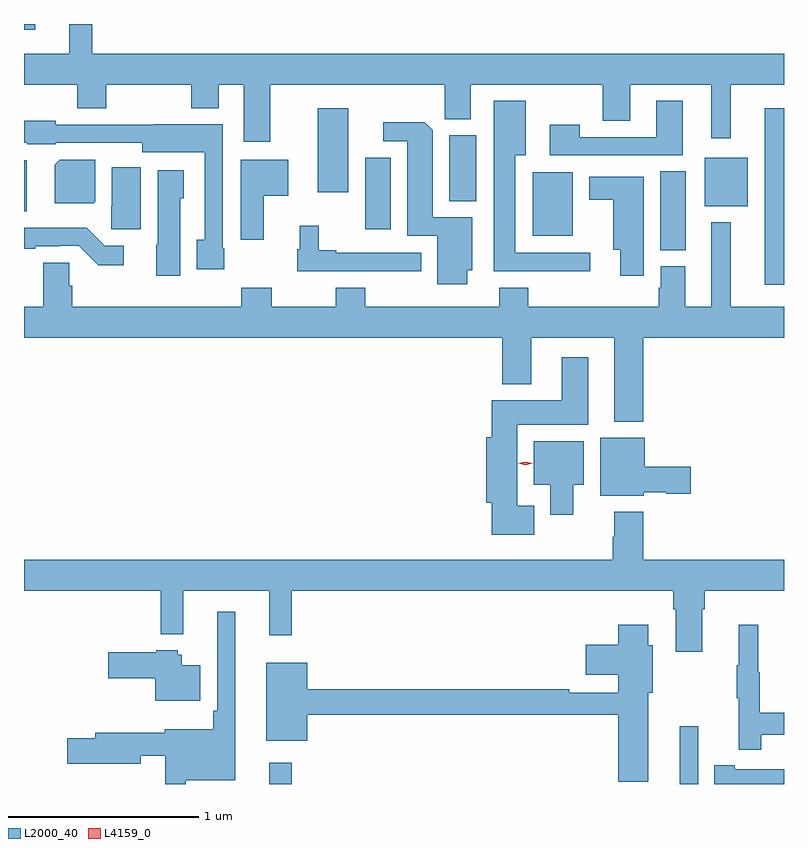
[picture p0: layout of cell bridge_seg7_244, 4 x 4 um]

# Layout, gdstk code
import gdstk
lib = gdstk.Library(unit=1e-6, precision=1e-09)
def R(c, l, rs):  # rectangles x0, y0, x1, y1
    for r in rs: c.add(gdstk.rectangle(r[:2], r[2:], *l))
def P(c, l, *ps):  # polygons
    for p in ps: c.add(gdstk.Polygon(p, *l))
L2000_40 = (2000, 40)
L4159_0 = (4159, 0)

bridge_seg7_244 = lib.new_cell('bridge_seg7_244')
R(bridge_seg7_244, L2000_40, [(195.482,1034.232,195.599,1034.344), (197.642,1034.232,197.739,1034.536), (198.089,1036.859,198.191,1037.788), (197.54,1037.041,197.674,1037.456), (196.868,1037.117,197.08,1037.452), (195.986,1037.151,196.12,1037.527), (194.191,1037.246,194.206,1037.516), (197.774,1037.273,198.001,1037.527), (196.43,1037.3,196.57,1037.646), (195.737,1037.346,195.898,1037.788), (194.191,1038.201,194.251,1038.232)])
P(bridge_seg7_244, L2000_40, [(195.487,1037.912),(196.405,1037.912),(196.405,1037.731),(196.543,1037.731),(196.543,1037.912),(197.236,1037.912),(197.236,1037.722),(197.383,1037.722),(197.383,1037.912),(197.807,1037.912),(197.807,1037.631),(197.911,1037.631),(197.911,1037.912),(198.191,1037.912),(198.191,1038.076),(194.551,1038.076),(194.551,1038.232),(194.429,1038.232),(194.429,1038.076),(194.191,1038.076),(194.191,1037.912),(194.47,1037.912),(194.47,1037.788),(194.625,1037.788),(194.625,1037.912),(195.07,1037.912),(195.07,1037.789),(195.217,1037.789),(195.217,1037.912),(195.347,1037.912),(195.347,1037.613),(195.487,1037.613)],
  [(197.17,1037.028),(196.777,1037.028),(196.777,1037.54),(196.831,1037.54),(196.831,1037.827),(196.664,1037.827),(196.664,1036.93),(197.17,1036.93)],
  [(197.659,1037.827),(197.519,1037.827),(197.519,1037.637),(197.115,1037.637),(197.115,1037.701),(196.959,1037.701),(196.959,1037.541),(197.659,1037.541)],
  [(195.245,1037.053),(195.237,1037.053),(195.237,1037.704),(194.875,1037.704),(194.875,1037.703),(194.358,1037.703),(194.358,1037.722),(194.191,1037.722),(194.191,1037.606),(194.208,1037.606),(194.208,1037.6),(194.358,1037.6),(194.358,1037.607),(194.813,1037.607),(194.813,1037.558),(195.141,1037.558),(195.141,1037.097),(195.101,1037.097),(195.101,1036.941),(195.245,1036.941)],
  [(196.525,1036.935),(196.549,1036.935),(196.549,1037.214),(196.342,1037.214),(196.342,1037.672),(196.301,1037.714),(196.083,1037.714),(196.083,1037.616),(196.208,1037.616),(196.208,1037.118),(196.367,1037.118),(196.367,1036.863),(196.525,1036.863)],
  [(194.566,1037.296),(194.566,1037.518),(194.38,1037.518),(194.354,1037.492),(194.354,1037.288),(194.558,1037.288)],
  [(195.454,1037.327),(195.583,1037.327),(195.583,1037.518),(195.332,1037.518),(195.332,1037.097),(195.454,1037.097)],
  [(194.806,1037.477),(194.654,1037.477),(194.654,1037.274),(194.65,1037.274),(194.65,1037.151),(194.806,1037.151)],
  [(195.013,1037.316),(195.031,1037.316),(195.031,1037.461),(194.894,1037.461),(194.894,1037.07),(194.888,1037.07),(194.888,1036.908),(195.013,1036.908)],
  [(197.452,1037.428),(197.165,1037.428),(197.165,1037.306),(197.291,1037.306),(197.291,1037.045),(197.33,1037.045),(197.33,1036.908),(197.452,1036.908)],
  [(197.45,1036.58),(198.191,1036.58),(198.191,1036.744),(197.911,1036.744),(197.911,1037.188),(197.807,1037.188),(197.807,1036.744),(197.671,1036.744),(197.671,1036.956),(197.543,1036.956),(197.543,1036.845),(197.531,1036.845),(197.531,1036.744),(196.844,1036.744),(196.844,1036.843),(196.691,1036.843),(196.691,1036.744),(195.987,1036.744),(195.987,1036.843),(195.832,1036.843),(195.832,1036.744),(195.495,1036.744),(195.495,1036.843),(195.335,1036.843),(195.335,1036.744),(194.444,1036.744),(194.444,1036.854),(194.43,1036.854),(194.43,1036.976),(194.291,1036.976),(194.291,1036.744),(194.191,1036.744),(194.191,1036.58),(196.709,1036.58),(196.709,1036.337),(196.861,1036.337),(196.861,1036.58),(197.297,1036.58),(197.297,1036.139),(197.45,1036.139)],
  [(196.282,1037.028),(195.835,1037.028),(195.835,1037.041),(195.741,1037.041),(195.741,1037.17),(195.641,1037.17),(195.641,1037.046),(195.63,1037.046),(195.63,1036.932),(196.282,1036.932)],
  [(194.716,1037.064),(194.616,1037.064),(194.521,1037.159),(194.191,1037.159),(194.191,1037.049),(194.251,1037.049),(194.251,1037.061),(194.378,1037.061),(194.378,1037.064),(194.478,1037.064),(194.581,1036.962),(194.716,1036.962)],
  [(196.876,1035.697),(196.786,1035.697),(196.786,1036.124),(197.161,1036.124),(197.161,1036.477),(197.021,1036.477),(197.021,1036.252),(196.652,1036.252),(196.652,1036.057),(196.625,1036.057),(196.625,1035.713),(196.652,1035.713),(196.652,1035.545),(196.876,1035.545)],
  [(197.454,1035.767),(197.571,1035.767),(197.571,1035.76),(197.701,1035.76),(197.701,1035.902),(197.458,1035.902),(197.458,1036.054),(197.225,1036.054),(197.225,1035.749),(197.454,1035.749)],
  [(197.083,1035.806),(197.137,1035.806),(197.137,1036.036),(196.874,1036.036),(196.874,1035.806),(196.961,1035.806),(196.961,1035.648),(197.083,1035.648)],
  [(197.761,1035.152),(197.774,1035.152),(197.774,1035.248),(198.191,1035.248),(198.191,1035.412),(197.45,1035.412),(197.45,1035.664),(197.297,1035.664),(197.297,1035.533),(197.29,1035.533),(197.29,1035.412),(194.191,1035.412),(194.191,1035.248),(194.911,1035.248),(194.911,1035.02),(195.029,1035.02),(195.029,1035.248),(195.482,1035.248),(195.482,1035.015),(195.599,1035.015),(195.599,1035.248),(197.609,1035.248),(197.609,1035.152),(197.621,1035.152),(197.621,1034.928),(197.761,1034.928)],
  [(195.043,1034.252),(195.304,1034.252),(195.304,1035.139),(195.207,1035.139),(195.207,1034.617),(195.187,1034.617),(195.187,1034.521),(194.933,1034.521),(194.933,1034.503),(194.567,1034.503),(194.567,1034.474),(194.418,1034.474),(194.418,1034.339),(194.806,1034.339),(194.806,1034.382),(194.934,1034.382),(194.934,1034.232),(195.043,1034.232)],
  [(198.071,1034.49),(198.191,1034.49),(198.191,1034.606),(198.064,1034.606),(198.064,1034.82),(198.056,1034.82),(198.056,1035.07),(197.954,1035.07),(197.954,1034.857),(197.943,1034.857),(197.943,1034.683),(197.954,1034.683),(197.954,1034.412),(198.071,1034.412)],
  [(197.476,1034.711),(197.5,1034.711),(197.5,1034.961),(197.476,1034.961),(197.476,1035.07),(197.318,1035.07),(197.318,1034.965),(197.148,1034.965),(197.148,1034.807),(197.318,1034.807),(197.318,1034.712),(197.06,1034.712),(197.06,1034.732),(195.682,1034.732),(195.682,1034.869),(195.467,1034.869),(195.467,1034.459),(195.682,1034.459),(195.682,1034.596),(197.318,1034.596),(197.318,1034.244),(197.476,1034.244)],
  [(195.118,1034.857),(195.022,1034.857),(195.022,1034.913),(195,1034.913),(195,1034.935),(194.886,1034.935),(194.886,1034.925),(194.634,1034.925),(194.634,1034.788),(194.882,1034.788),(194.882,1034.669),(195.118,1034.669)],
  [(198.191,1034.31),(197.932,1034.31),(197.932,1034.33),(197.824,1034.33),(197.824,1034.232),(198.191,1034.232)])
P(bridge_seg7_244, L4159_0, [(196.83,1035.909),(196.791,1035.919),(196.791,1035.919),(196.791,1035.919),(196.83,1035.929),(196.869,1035.919),(196.869,1035.919),(196.869,1035.919)])

lib.write_gds('bridge_seg7_244.gds')
